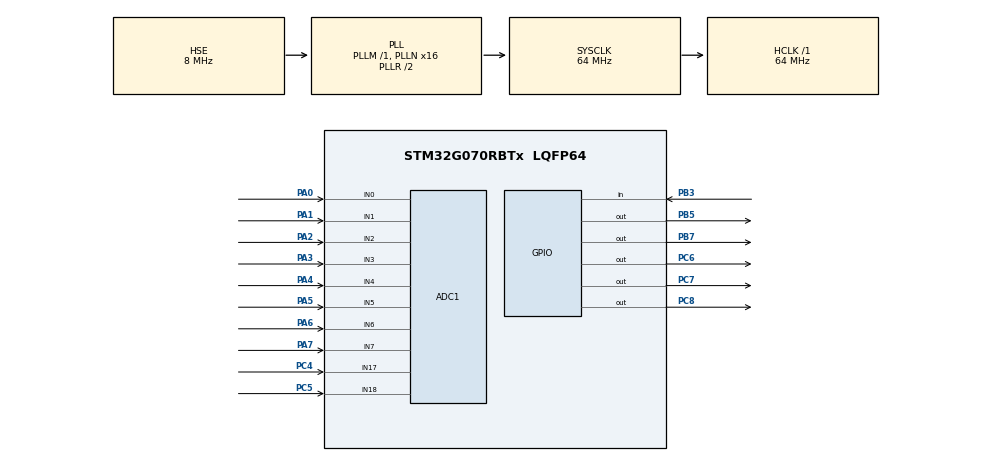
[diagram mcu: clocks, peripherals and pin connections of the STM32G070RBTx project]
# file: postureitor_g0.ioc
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ADC1.ClockPrescaler=ADC_CLOCK_ASYNC_DIV8
ADC1.EOCSelection=ADC_EOC_SINGLE_CONV
ADC1.EnableAnalogWatchDog1=false
ADC1.NbrOfConversion=1
ADC1.NbrOfConversionFlag=0
ADC1.SamplingTimeCommon1=ADC_SAMPLETIME_160CYCLES_5
ADC1.SelectedChannel=ADC_CHANNEL_0|ADC_CHANNEL_1|ADC_CHANNEL_2|ADC_CHANNEL_3|ADC_CHANNEL_4|ADC_CHANNEL_5|ADC_CHANNEL_6|ADC_CHANNEL_7|ADC_CHANNEL_17|ADC_CHANNEL_18
ADC1.Sequencer=NOT_FULLY_CONFIGURABLE
ADC1.master=1
Mcu.Family=STM32G0
Mcu.Name=STM32G070RBTx
Mcu.Package=LQFP64
NVIC.ADC1_IRQn=true\:0\:0\:false\:false\:true\:true\:true\:true
PA0.Mode=IN0
PA0.Signal=ADC1_IN0
PA1.Mode=IN1
PA1.Signal=ADC1_IN1
PA13.Mode=Serial_Wire
PA13.Signal=SYS_SWDIO
PA14-BOOT0.Mode=Serial_Wire
PA14-BOOT0.Signal=SYS_SWCLK
PA2.Mode=IN2
PA2.Signal=ADC1_IN2
PA3.Mode=IN3
PA3.Signal=ADC1_IN3
PA4.Mode=IN4
PA4.Signal=ADC1_IN4
PA5.Mode=IN5
PA5.Signal=ADC1_IN5
PA6.Mode=IN6
PA6.Signal=ADC1_IN6
PA7.Mode=IN7
PA7.Signal=ADC1_IN7
PB3.GPIO_PuPd=GPIO_PULLUP
PB3.Signal=GPIO_Input
PB5.Signal=GPIO_Output
PB7.Signal=GPIO_Output
PC14-OSC32_IN\ (PC14).Mode=LSE-External-Oscillator
PC14-OSC32_IN\ (PC14).Signal=RCC_OSC32_IN
PC15-OSC32_OUT\ (PC15).Mode=LSE-External-Oscillator
PC15-OSC32_OUT\ (PC15).Signal=RCC_OSC32_OUT
PC4.Mode=IN17
PC4.Signal=ADC1_IN17
PC5.Mode=IN18
PC5.Signal=ADC1_IN18
PC6.Signal=GPIO_Output
PC7.Signal=GPIO_Output
PC8.Signal=GPIO_Output
PF0-OSC_IN\ (PF0).Mode=HSE-External-Oscillator
PF0-OSC_IN\ (PF0).Signal=RCC_OSC_IN
PF1-OSC_OUT\ (PF1).Mode=HSE-External-Oscillator
PF1-OSC_OUT\ (PF1).Signal=RCC_OSC_OUT
ProjectManager.HeapSize=0x200
ProjectManager.StackSize=0x400
ProjectManager.TargetToolchain=STM32CubeIDE
RCC.ADCFreq_Value=64000000
RCC.AHBFreq_Value=64000000
RCC.CortexFreq_Value=64000000
RCC.EXTERNAL_CLOCK_VALUE=48000
RCC.HCLKFreq_Value=64000000
RCC.HSE_VALUE=8000000
RCC.HSI_VALUE=16000000
RCC.PLLN=16
RCC.PLLSourceVirtual=RCC_PLLSOURCE_HSE
RCC.SYSCLKFreq_VALUE=64000000
RCC.SYSCLKSource=RCC_SYSCLKSOURCE_PLLCLK
RCC.VCOOutputFreq_Value=128000000
VP_SYS_VS_DBSignals.Mode=DisableDeadBatterySignals
board=custom

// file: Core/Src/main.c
/* USER CODE BEGIN Header */
/**
  ******************************************************************************
  * @file           : main.c
  * @brief          : Main program body
  ******************************************************************************
  * @attention
  *
  * Copyright (c) 2022 STMicroelectronics.
  * All rights reserved.
  *
  * This software is licensed under terms that can be found in the LICENSE file
  * in the root directory of this software component.
  * If no LICENSE file comes with this software, it is provided AS-IS.
  *
  ******************************************************************************
  */
/* USER CODE END Header */
#include "main.h"

/* USER CODE BEGIN Includes */
#include <math.h>
/* USER CODE END Includes */

/* USER CODE BEGIN PTD */
enum {
  IDLE = 0,
  ON,
  DIST_ALERT,
  CONFIG,
  ALARM
};
/* USER CODE END PTD */

/* USER CODE BEGIN PD */
#define   ALERT_TIMEOUT       3000
#define   CLICK_MIN_SEC       50
#define   CLICK_MAX_SEC       1000
#define   UNDER_PRESS_SEC     2000
#define   INTERNAL_DIST_THR   20
#define   MOTOR_TOGGLE_TIME   1000
/* USER CODE END PD */

 ADC_HandleTypeDef hadc1;

/* USER CODE BEGIN PV */
uint32_t sensor_channel[NUM_SENSORS] = {ADC_CHANNEL_0,
                                        ADC_CHANNEL_1,
                                        ADC_CHANNEL_2,
                                        ADC_CHANNEL_3,
                                        ADC_CHANNEL_4,
                                        ADC_CHANNEL_5,
                                        ADC_CHANNEL_6,
                                        ADC_CHANNEL_7,
                                        ADC_CHANNEL_17,
                                        ADC_CHANNEL_18};

volatile uint32_t sensor_sav[NUM_SENSORS];
volatile uint32_t sensor_val[NUM_SENSORS];
uint32_t tolerance = 400;

uint16_t state = IDLE, prev_state = IDLE;
/* USER CODE END PV */

void SystemClock_Config(void);
static void MX_GPIO_Init(void);
static void MX_ADC1_Init(void);
/* USER CODE BEGIN PFP */
uint32_t ADC_ReadChannel(ADC_HandleTypeDef *hadc, uint32_t channel);
uint32_t Get_SensorDist(volatile uint32_t values[NUM_SENSORS], uint32_t save[NUM_SENSORS]);
uint32_t Get_InternalDist(volatile uint32_t values[NUM_SENSORS]);
void Sensor_SaveProfile(void);
/* USER CODE END PFP */

/* USER CODE BEGIN 0 */
ADC_ChannelConfTypeDef gConfig = {0};
/* USER CODE END 0 */

int main(void)
{

  /* MCU Configuration--------------------------------------------------------*/

  /* Reset of all peripherals, Initializes the Flash interface and the Systick. */
  HAL_Init();

  /* Configure the system clock */
  SystemClock_Config();

  /* Initialize all configured peripherals */
  MX_GPIO_Init();
  MX_ADC1_Init();
  /* USER CODE BEGIN 2 */
  HAL_ADC_Start_IT(&hadc1);
  HAL_Delay(5);
  Sensor_SaveProfile();

  uint32_t sensor_dist = 0;
  uint32_t sensor_int_dist = 0;
  uint32_t alarm_timestamp = HAL_GetTick();

  uint8_t click = 0;
  uint8_t under_pressure = 0;

  GPIO_PinState btn_state;
  uint8_t btn_start = 0;
  uint32_t btn_timestamp;

  uint8_t config_flag = 0;
  uint8_t blink = 0;

  uint8_t motor_state = 0, motor_transition = 0;
  uint32_t motor_timestamp;
  /* USER CODE END 2 */

  /* Infinite loop */
  /* USER CODE BEGIN WHILE */
  while (1)
  {
    HAL_ADC_Start_IT(&hadc1);
    HAL_Delay(5); // Cambiar delay por flag

    if (Get_SensorDist(sensor_val, (uint32_t *)sensor_sav) > tolerance) {
      HAL_GPIO_WritePin(GPIOC, GPIO_PIN_8, GPIO_PIN_SET);
    }
    else HAL_GPIO_WritePin(GPIOC, GPIO_PIN_8, GPIO_PIN_RESET);

    // Leer botones
    // Medir tiempo con HAL_GetTick(). Si el tiempo de presión está entre un rango acotado: click
    // Si el tiempo de presión supera una cantidad: presión extendida
    // Estando dentro de CONFIG, no salir hasta que se suelte el botón

    btn_state = HAL_GPIO_ReadPin(GPIOB, GPIO_PIN_3);

    if (btn_state == GPIO_PIN_RESET) {
      if (btn_start == 0) {
        btn_start = 1;
        btn_timestamp = HAL_GetTick();
      }

      if (HAL_GetTick() - btn_timestamp > UNDER_PRESS_SEC) {
        under_pressure = 1;
      }
    }
    else {
      if (btn_start == 1) {
        btn_start = 0;
        uint32_t time_pressed = HAL_GetTick() - btn_timestamp;
        if (time_pressed > CLICK_MIN_SEC && time_pressed < CLICK_MAX_SEC) {
          click = 1;
        }

        under_pressure = 0;
      }
      else {
        click = 0;
      }
    }

    // FSM
    switch (state)
    {
    case IDLE:
      HAL_GPIO_WritePin(GPIOB, GPIO_PIN_5, GPIO_PIN_RESET);
      if (click) {

        prev_state = IDLE;
        state = ON;
      }
      else if (under_pressure) {
        prev_state = IDLE;
        state = CONFIG;
      }

      break;

    case ON:
      HAL_GPIO_WritePin(GPIOB, GPIO_PIN_5, GPIO_PIN_SET);

      sensor_dist = Get_SensorDist(sensor_val, (uint32_t *)sensor_sav);
      sensor_int_dist = Get_InternalDist(sensor_val);

      if (sensor_dist > tolerance && sensor_int_dist >= INTERNAL_DIST_THR) {
        prev_state = ON;
        alarm_timestamp = HAL_GetTick();
        state = DIST_ALERT;
      }

      if (click) {
        prev_state = ON;
        state = IDLE;
      }
      else if (under_pressure) {
        prev_state = ON;
        state = CONFIG;
      }
      break;

    case DIST_ALERT:
      if (HAL_GetTick() - alarm_timestamp > ALERT_TIMEOUT) {
        state = ALARM;
        prev_state = DIST_ALERT;
        motor_transition = 1;
      }

      sensor_dist = Get_SensorDist(sensor_val, (uint32_t *)sensor_sav);
      sensor_int_dist = Get_InternalDist(sensor_val);
      if (sensor_dist <= tolerance || sensor_int_dist < INTERNAL_DIST_THR) {
        state = ON;
        prev_state = DIST_ALERT;
      }

      if (click) {
        prev_state = DIST_ALERT;
        state = IDLE;
      }
      break;

    case CONFIG:
      if (!under_pressure) {
        state = prev_state;
        prev_state = CONFIG;
        config_flag = 0;
        blink = 0;
      }
      else {
        if (config_flag == 0) {
          HAL_ADC_Start_IT(&hadc1);
          HAL_Delay(5);
          Sensor_SaveProfile();

          config_flag = 1;
        }
        else {
          if (!blink) {
            HAL_GPIO_WritePin(GPIOB, GPIO_PIN_5, GPIO_PIN_RESET);
            HAL_Delay(100);
            HAL_GPIO_WritePin(GPIOB, GPIO_PIN_5, GPIO_PIN_SET);
            HAL_Delay(100);
            HAL_GPIO_WritePin(GPIOB, GPIO_PIN_5, GPIO_PIN_RESET);
            HAL_Delay(100);
            HAL_GPIO_WritePin(GPIOB, GPIO_PIN_5, GPIO_PIN_SET);
            HAL_Delay(100);
            HAL_GPIO_WritePin(GPIOB, GPIO_PIN_5, GPIO_PIN_RESET);
            HAL_Delay(100);
            HAL_GPIO_WritePin(GPIOB, GPIO_PIN_5, GPIO_PIN_SET);
            HAL_Delay(100);
            HAL_GPIO_WritePin(GPIOB, GPIO_PIN_5, GPIO_PIN_RESET);
            blink = 1;
          }
        }
      }
      break;

    case ALARM:
      // ENCENDER
      if (motor_transition) {
        motor_transition = 0;
        motor_timestamp = HAL_GetTick();
      }

      if (HAL_GetTick() - motor_timestamp > MOTOR_TOGGLE_TIME) {
        if (motor_state) {
          HAL_GPIO_WritePin(GPIOC, GPIO_PIN_6, GPIO_PIN_SET);
          HAL_GPIO_WritePin(GPIOC, GPIO_PIN_7, GPIO_PIN_SET);
          motor_transition = 1;
          motor_state = 0;
        }
        else {
          HAL_GPIO_WritePin(GPIOC, GPIO_PIN_6, GPIO_PIN_RESET);
          HAL_GPIO_WritePin(GPIOC, GPIO_PIN_7, GPIO_PIN_RESET);
          motor_transition = 1;
          motor_state = 1;
        }
      }

      sensor_dist = Get_SensorDist(sensor_val, (uint32_t *)sensor_sav);
      sensor_int_dist = Get_InternalDist(sensor_val);
      if (sensor_dist <= tolerance || sensor_int_dist < INTERNAL_DIST_THR) {
        state = ON;
        prev_state = ALARM;
        // Apagar motores
        HAL_GPIO_WritePin(GPIOC, GPIO_PIN_6, GPIO_PIN_RESET);
        HAL_GPIO_WritePin(GPIOC, GPIO_PIN_7, GPIO_PIN_RESET);
        motor_state = 0;
        motor_transition = 0;
      }

      if (click) {
        motor_state = 0;
        motor_transition = 0;
        prev_state = ALARM;
        state = IDLE;
        HAL_GPIO_WritePin(GPIOC, GPIO_PIN_6, GPIO_PIN_RESET);
        HAL_GPIO_WritePin(GPIOC, GPIO_PIN_7, GPIO_PIN_RESET);
      }
      break;
    }

    HAL_Delay(1);
    /* USER CODE END WHILE */

  }
}

void SystemClock_Config(void)
{
  RCC_OscInitTypeDef RCC_OscInitStruct = {0};
  RCC_ClkInitTypeDef RCC_ClkInitStruct = {0};

  /** Configure the main internal regulator output voltage
  */
  HAL_PWREx_ControlVoltageScaling(PWR_REGULATOR_VOLTAGE_SCALE1);

  /** Initializes the RCC Oscillators according to the specified parameters
  * in the RCC_OscInitTypeDef structure.
  */
  RCC_OscInitStruct.OscillatorType = RCC_OSCILLATORTYPE_HSE;
  RCC_OscInitStruct.HSEState = RCC_HSE_ON;
  RCC_OscInitStruct.PLL.PLLState = RCC_PLL_ON;
  RCC_OscInitStruct.PLL.PLLSource = RCC_PLLSOURCE_HSE;
  RCC_OscInitStruct.PLL.PLLM = RCC_PLLM_DIV1;
  RCC_OscInitStruct.PLL.PLLN = 16;
  RCC_OscInitStruct.PLL.PLLP = RCC_PLLP_DIV2;
  RCC_OscInitStruct.PLL.PLLR = RCC_PLLR_DIV2;
  if (HAL_RCC_OscConfig(&RCC_OscInitStruct) != HAL_OK)
  {
    Error_Handler();
  }

  /** Initializes the CPU, AHB and APB buses clocks
  */
  RCC_ClkInitStruct.ClockType = RCC_CLOCKTYPE_HCLK|RCC_CLOCKTYPE_SYSCLK
                              |RCC_CLOCKTYPE_PCLK1;
  RCC_ClkInitStruct.SYSCLKSource = RCC_SYSCLKSOURCE_PLLCLK;
  RCC_ClkInitStruct.AHBCLKDivider = RCC_SYSCLK_DIV1;
  RCC_ClkInitStruct.APB1CLKDivider = RCC_HCLK_DIV1;

  if (HAL_RCC_ClockConfig(&RCC_ClkInitStruct, FLASH_LATENCY_2) != HAL_OK)
  {
    Error_Handler();
  }
}

static void MX_ADC1_Init(void)
{

  ADC_ChannelConfTypeDef sConfig = {0};

  /** Configure the global features of the ADC (Clock, Resolution, Data Alignment and number of conversion)
  */
  hadc1.Instance = ADC1;
  hadc1.Init.ClockPrescaler = ADC_CLOCK_ASYNC_DIV8;
  hadc1.Init.Resolution = ADC_RESOLUTION_12B;
  hadc1.Init.DataAlign = ADC_DATAALIGN_RIGHT;
  hadc1.Init.ScanConvMode = ADC_SCAN_SEQ_FIXED;
  hadc1.Init.EOCSelection = ADC_EOC_SINGLE_CONV;
  hadc1.Init.LowPowerAutoWait = DISABLE;
  hadc1.Init.LowPowerAutoPowerOff = DISABLE;
  hadc1.Init.ContinuousConvMode = DISABLE;
  hadc1.Init.NbrOfConversion = 1;
  hadc1.Init.ExternalTrigConv = ADC_SOFTWARE_START;
  hadc1.Init.ExternalTrigConvEdge = ADC_EXTERNALTRIGCONVEDGE_NONE;
  hadc1.Init.DMAContinuousRequests = DISABLE;
  hadc1.Init.Overrun = ADC_OVR_DATA_PRESERVED;
  hadc1.Init.SamplingTimeCommon1 = ADC_SAMPLETIME_160CYCLES_5;
  hadc1.Init.OversamplingMode = DISABLE;
  hadc1.Init.TriggerFrequencyMode = ADC_TRIGGER_FREQ_HIGH;
  if (HAL_ADC_Init(&hadc1) != HAL_OK)
  {
    Error_Handler();
  }

  /** Configure Regular Channel
  */
  sConfig.Channel = ADC_CHANNEL_0;
  sConfig.Rank = ADC_RANK_CHANNEL_NUMBER;
  if (HAL_ADC_ConfigChannel(&hadc1, &sConfig) != HAL_OK)
  {
    Error_Handler();
  }

  /** Configure Regular Channel
  */
  sConfig.Channel = ADC_CHANNEL_1;
  if (HAL_ADC_ConfigChannel(&hadc1, &sConfig) != HAL_OK)
  {
    Error_Handler();
  }

  /** Configure Regular Channel
  */
  sConfig.Channel = ADC_CHANNEL_2;
  if (HAL_ADC_ConfigChannel(&hadc1, &sConfig) != HAL_OK)
  {
    Error_Handler();
  }

  /** Configure Regular Channel
  */
  sConfig.Channel = ADC_CHANNEL_3;
  if (HAL_ADC_ConfigChannel(&hadc1, &sConfig) != HAL_OK)
  {
    Error_Handler();
  }

  /** Configure Regular Channel
  */
  sConfig.Channel = ADC_CHANNEL_4;
  if (HAL_ADC_ConfigChannel(&hadc1, &sConfig) != HAL_OK)
  {
    Error_Handler();
  }

  /** Configure Regular Channel
  */
  sConfig.Channel = ADC_CHANNEL_5;
  if (HAL_ADC_ConfigChannel(&hadc1, &sConfig) != HAL_OK)
  {
    Error_Handler();
  }

  /** Configure Regular Channel
  */
  sConfig.Channel = ADC_CHANNEL_6;
  if (HAL_ADC_ConfigChannel(&hadc1, &sConfig) != HAL_OK)
  {
    Error_Handler();
  }

  /** Configure Regular Channel
  */
  sConfig.Channel = ADC_CHANNEL_7;
  if (HAL_ADC_ConfigChannel(&hadc1, &sConfig) != HAL_OK)
  {
    Error_Handler();
  }

  /** Configure Regular Channel
  */
  sConfig.Channel = ADC_CHANNEL_17;
  if (HAL_ADC_ConfigChannel(&hadc1, &sConfig) != HAL_OK)
  {
    Error_Handler();
  }

  /** Configure Regular Channel
  */
  sConfig.Channel = ADC_CHANNEL_18;
  if (HAL_ADC_ConfigChannel(&hadc1, &sConfig) != HAL_OK)
  {
    Error_Handler();
  }
  /* USER CODE BEGIN ADC1_Init 2 */
  gConfig = sConfig;
  /* USER CODE END ADC1_Init 2 */

}

static void MX_GPIO_Init(void)
{
  GPIO_InitTypeDef GPIO_InitStruct = {0};

  /* GPIO Ports Clock Enable */
  __HAL_RCC_GPIOC_CLK_ENABLE();
  __HAL_RCC_GPIOF_CLK_ENABLE();
  __HAL_RCC_GPIOA_CLK_ENABLE();
  __HAL_RCC_GPIOB_CLK_ENABLE();

  /*Configure GPIO pin Output Level */
  HAL_GPIO_WritePin(GPIOC, GPIO_PIN_6|GPIO_PIN_7|GPIO_PIN_8, GPIO_PIN_RESET);

  /*Configure GPIO pin Output Level */
  HAL_GPIO_WritePin(GPIOB, GPIO_PIN_5|GPIO_PIN_7, GPIO_PIN_RESET);

  /*Configure GPIO pins : PC6 PC7 PC8 */
  GPIO_InitStruct.Pin = GPIO_PIN_6|GPIO_PIN_7|GPIO_PIN_8;
  GPIO_InitStruct.Mode = GPIO_MODE_OUTPUT_PP;
  GPIO_InitStruct.Pull = GPIO_NOPULL;
  GPIO_InitStruct.Speed = GPIO_SPEED_FREQ_LOW;
  HAL_GPIO_Init(GPIOC, &GPIO_InitStruct);

  /*Configure GPIO pin : PB3 */
  GPIO_InitStruct.Pin = GPIO_PIN_3;
  GPIO_InitStruct.Mode = GPIO_MODE_INPUT;
  GPIO_InitStruct.Pull = GPIO_PULLUP;
  HAL_GPIO_Init(GPIOB, &GPIO_InitStruct);

  /*Configure GPIO pins : PB5 PB7 */
  GPIO_InitStruct.Pin = GPIO_PIN_5|GPIO_PIN_7;
  GPIO_InitStruct.Mode = GPIO_MODE_OUTPUT_PP;
  GPIO_InitStruct.Pull = GPIO_NOPULL;
  GPIO_InitStruct.Speed = GPIO_SPEED_FREQ_LOW;
  HAL_GPIO_Init(GPIOB, &GPIO_InitStruct);

}

/* USER CODE BEGIN 4 */
uint32_t ADC_ReadChannel(ADC_HandleTypeDef *hadc, uint32_t channel) {
  //gConfig.Channel = channel;
  //HAL_ADC_ConfigChannel(hadc, &gConfig);
  //HAL_ADC_Start(hadc);

  if (HAL_ADC_PollForConversion(hadc, 0) == HAL_OK) {
    return HAL_ADC_GetValue(hadc);
  }

  return 0;
}

uint32_t Get_SensorDist(volatile uint32_t values[NUM_SENSORS], uint32_t save[NUM_SENSORS]) {
  float dist = 0;

  for (uint8_t i = 0; i < NUM_SENSORS; i++) {
    dist += powf((float)values[i] - (float)save[i], 2);
  }

  return (uint32_t)sqrtf(dist);
}

uint32_t Get_InternalDist(volatile uint32_t values[NUM_SENSORS]) {
  float mean, sum = 0.0, std = 0.0;

  for (uint8_t i = 0; i < NUM_SENSORS; i++) {
    sum += (float)values[i];
  }
  mean = sum / NUM_SENSORS;

  sum = 0.0;
  for (uint8_t i = 0; i < NUM_SENSORS; i++) {
    sum += powf((float)values[i] - mean, 2);
  }
  std = sqrtf(sum);

  return (uint32_t)std;
}

void Sensor_SaveProfile() {
  for (uint8_t i = 0; i < NUM_SENSORS; i++) {
    sensor_sav[i] = sensor_val[i];
  }
}
/* USER CODE END 4 */

void Error_Handler(void)
{
  __disable_irq();
  while (1)
  {
  }
}
